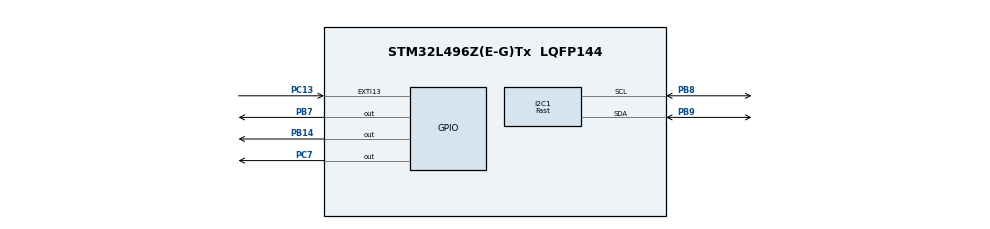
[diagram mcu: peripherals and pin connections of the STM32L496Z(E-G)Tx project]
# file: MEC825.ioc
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FREERTOS.Tasks01=Blink01,24,128,StartBlink01,Default,NULL,Dynamic,NULL,NULL;Blink02,16,128,StartBlink02,Default,NULL,Dynamic,NULL,NULL
I2C1.I2C_Speed_Mode=I2C_Fast
I2C1.Timing=0x00000004
Mcu.Family=STM32L4
Mcu.Name=STM32L496Z(E-G)Tx
Mcu.Package=LQFP144
NVIC.EXTI15_10_IRQn=true\:0\:0\:false\:false\:true\:false\:true\:true
NVIC.PriorityGroup=NVIC_PRIORITYGROUP_4
NVIC.TIM6_DAC_IRQn=true\:0\:0\:false\:false\:true\:false\:false\:true
NVIC.TimeBase=TIM6_DAC_IRQn
NVIC.TimeBaseIP=TIM6
PA13\ (JTMS/SWDIO).Mode=Serial_Wire
PA13\ (JTMS/SWDIO).Signal=SYS_JTMS-SWDIO
PA14\ (JTCK/SWCLK).Mode=Serial_Wire
PA14\ (JTCK/SWCLK).Signal=SYS_JTCK-SWCLK
PB14.Signal=GPIO_Output
PB7.Signal=GPIO_Output
PB8.Mode=I2C
PB8.Signal=I2C1_SCL
PB9.Mode=I2C
PB9.Signal=I2C1_SDA
PC13.Signal=GPXTI13
PC7.Signal=GPIO_Output
ProjectManager.HeapSize=0x200
ProjectManager.StackSize=0x400
ProjectManager.TargetToolchain=STM32CubeIDE
RCC.HSE_VALUE=8000000
RCC.HSI48_VALUE=48000000
RCC.HSI_VALUE=16000000
RCC.LSE_VALUE=32768
RCC.MSI_VALUE=4000000
RCC.VCOOutputFreq_Value=32000000
VP_FREERTOS_VS_CMSIS_V2.Mode=CMSIS_V2
VP_SYS_VS_tim6.Mode=TIM6
board=custom

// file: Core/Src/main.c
/* USER CODE BEGIN Header */
/**
  ******************************************************************************
  * @file           : main.c
  * @brief          : Main program body
  ******************************************************************************
  * @attention
  *
  * <h2><center>&copy; Copyright (c) 2021 STMicroelectronics.
  * All rights reserved.</center></h2>
  *
  * This software component is licensed by ST under BSD 3-Clause license,
  * the "License"; You may not use this file except in compliance with the
  * License. You may obtain a copy of the License at:
  *                        opensource.org/licenses/BSD-3-Clause
  *
  ******************************************************************************
  */
/* USER CODE END Header */
#include "main.h"
#include "cmsis_os.h"
#include "i2c.h"
#include "gpio.h"

/* USER CODE BEGIN Includes */
#include "bitmap.h"
#include "fonts.h"
#include "ssd1306.h"
#include "StepLib.h"
#include "test.h"
/* USER CODE END Includes */

void SystemClock_Config(void);
void MX_FREERTOS_Init(void);

int main(void)
{

  /* MCU Configuration--------------------------------------------------------*/

  /* Reset of all peripherals, Initializes the Flash interface and the Systick. */
  HAL_Init();

  /* Configure the system clock */
  SystemClock_Config();

  /* Initialize all configured peripherals */
  MX_GPIO_Init();
  MX_I2C1_Init();
  /* USER CODE BEGIN 2 */
  SSD1306_Init();  // initialise

    /// lets print some string

      SSD1306_GotoXY (0,0);
      SSD1306_Puts ("Autonomous", &Font_7x10, 1);
      SSD1306_GotoXY (0, 15);
      SSD1306_Puts ("Pole & Line", &Font_7x10, 1);
      SSD1306_GotoXY (0, 30);
      SSD1306_Puts ("Fishing System", &Font_7x10, 1);
      SSD1306_UpdateScreen(); //display
      HAL_Delay (3000);
      SSD1306_Clear();

      SSD1306_GotoXY (0,0);
      SSD1306_Puts ("Created By:", &Font_7x10, 1);
      SSD1306_GotoXY (0, 18);
      SSD1306_Puts ("Heather & Nicholas", &Font_7x10, 1);
      SSD1306_GotoXY (0, 36);
      SSD1306_Puts ("Imran & Hasib", &Font_7x10, 1);
      SSD1306_UpdateScreen(); //display
      HAL_Delay (3000);
      SSD1306_Clear();

      SSD1306_DrawBitmap(0,0,logo, 128, 64, 1);
      SSD1306_UpdateScreen();

      HAL_Delay(2000);

      SSD1306_ScrollRight(0x00, 0x0f);    // scroll entire screen right

      HAL_Delay (2000);

      SSD1306_ScrollLeft(0x00, 0x0f);  // scroll entire screen left

      HAL_Delay (2000);

      SSD1306_Scrolldiagright(0x00, 0x0f);  // scroll entire screen diagonal right

      HAL_Delay (2000);

      SSD1306_Scrolldiagleft(0x00, 0x0f);  // scroll entire screen diagonal left

      HAL_Delay (2000);

      SSD1306_Stopscroll();   // stop scrolling. If not done, screen will keep on scrolling

      SSD1306_InvertDisplay(1);   // invert the display

      HAL_Delay(2000);

      SSD1306_InvertDisplay(0);  // normalize the display

  /* USER CODE END 2 */

  /* Init scheduler */
  osKernelInitialize();  /* Call init function for freertos objects (in freertos.c) */
  MX_FREERTOS_Init();
  /* Start scheduler */
  osKernelStart();

  /* We should never get here as control is now taken by the scheduler */
  /* Infinite loop */
  while (1)
  {

    /* USER CODE BEGIN 3 */

		  //// HORSE ANIMATION START //////
//
//		  SSD1306_Clear();
//		  SSD1306_DrawBitmap(0,0,horse1,128,64,1);
//		  SSD1306_UpdateScreen();
//
//		  SSD1306_Clear();
//		  SSD1306_DrawBitmap(0,0,horse2,128,64,1);
//		  SSD1306_UpdateScreen();
//
//		  SSD1306_Clear();
//		  SSD1306_DrawBitmap(0,0,horse3,128,64,1);
//		  SSD1306_UpdateScreen();
//
//		  SSD1306_Clear();
//		  SSD1306_DrawBitmap(0,0,horse4,128,64,1);
//		  SSD1306_UpdateScreen();
//
//		  SSD1306_Clear();
//		  SSD1306_DrawBitmap(0,0,horse5,128,64,1);
//		  SSD1306_UpdateScreen();
//
//		  SSD1306_Clear();
//		  SSD1306_DrawBitmap(0,0,horse6,128,64,1);
//		  SSD1306_UpdateScreen();
//
//
//		  SSD1306_Clear();
//		  SSD1306_DrawBitmap(0,0,horse7,128,64,1);
//		  SSD1306_UpdateScreen();
//
//		  SSD1306_Clear();
//		  SSD1306_DrawBitmap(0,0,horse8,128,64,1);
//		  SSD1306_UpdateScreen();
//
//
//		  SSD1306_Clear();
//		  SSD1306_DrawBitmap(0,0,horse9,128,64,1);
//		  SSD1306_UpdateScreen();
//
//
//		  SSD1306_Clear();
//		  SSD1306_DrawBitmap(0,0,horse10,128,64,1);
//		  SSD1306_UpdateScreen();

    /* USER CODE BEGIN 3 */
  }
  /* USER CODE END 3 */
}

void SystemClock_Config(void)
{
  RCC_OscInitTypeDef RCC_OscInitStruct = {0};
  RCC_ClkInitTypeDef RCC_ClkInitStruct = {0};
  RCC_PeriphCLKInitTypeDef PeriphClkInit = {0};

  /** Initializes the RCC Oscillators according to the specified parameters
  * in the RCC_OscInitTypeDef structure.
  */
  RCC_OscInitStruct.OscillatorType = RCC_OSCILLATORTYPE_MSI;
  RCC_OscInitStruct.MSIState = RCC_MSI_ON;
  RCC_OscInitStruct.MSICalibrationValue = 0;
  RCC_OscInitStruct.MSIClockRange = RCC_MSIRANGE_6;
  RCC_OscInitStruct.PLL.PLLState = RCC_PLL_NONE;
  if (HAL_RCC_OscConfig(&RCC_OscInitStruct) != HAL_OK)
  {
    Error_Handler();
  }
  /** Initializes the CPU, AHB and APB buses clocks
  */
  RCC_ClkInitStruct.ClockType = RCC_CLOCKTYPE_HCLK|RCC_CLOCKTYPE_SYSCLK
                              |RCC_CLOCKTYPE_PCLK1|RCC_CLOCKTYPE_PCLK2;
  RCC_ClkInitStruct.SYSCLKSource = RCC_SYSCLKSOURCE_MSI;
  RCC_ClkInitStruct.AHBCLKDivider = RCC_SYSCLK_DIV1;
  RCC_ClkInitStruct.APB1CLKDivider = RCC_HCLK_DIV1;
  RCC_ClkInitStruct.APB2CLKDivider = RCC_HCLK_DIV1;

  if (HAL_RCC_ClockConfig(&RCC_ClkInitStruct, FLASH_LATENCY_0) != HAL_OK)
  {
    Error_Handler();
  }
  PeriphClkInit.PeriphClockSelection = RCC_PERIPHCLK_I2C1;
  PeriphClkInit.I2c1ClockSelection = RCC_I2C1CLKSOURCE_PCLK1;
  if (HAL_RCCEx_PeriphCLKConfig(&PeriphClkInit) != HAL_OK)
  {
    Error_Handler();
  }
  /** Configure the main internal regulator output voltage
  */
  if (HAL_PWREx_ControlVoltageScaling(PWR_REGULATOR_VOLTAGE_SCALE1) != HAL_OK)
  {
    Error_Handler();
  }
}

 /**
  * @brief  Period elapsed callback in non blocking mode
  * @note   This function is called  when TIM6 interrupt took place, inside
  * HAL_TIM_IRQHandler(). It makes a direct call to HAL_IncTick() to increment
  * a global variable "uwTick" used as application time base.
  * @param  htim : TIM handle
  * @retval None
  */
void HAL_TIM_PeriodElapsedCallback(TIM_HandleTypeDef *htim)
{
  if (htim->Instance == TIM6) {
    HAL_IncTick();
  }
}

void Error_Handler(void)
{
  __disable_irq();
  while (1)
  {
  }
}

/************************ (C) COPYRIGHT STMicroelectronics *****END OF FILE****/

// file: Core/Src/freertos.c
/* USER CODE BEGIN Header */
/**
  ******************************************************************************
  * File Name          : freertos.c
  * Description        : Code for freertos applications
  ******************************************************************************
  * @attention
  *
  * <h2><center>&copy; Copyright (c) 2021 STMicroelectronics.
  * All rights reserved.</center></h2>
  *
  * This software component is licensed by ST under Ultimate Liberty license
  * SLA0044, the "License"; You may not use this file except in compliance with
  * the License. You may obtain a copy of the License at:
  *                             www.st.com/SLA0044
  *
  ******************************************************************************
  */
/* USER CODE END Header */

#include "FreeRTOS.h"
#include "task.h"
#include "main.h"
#include "cmsis_os.h"

/* Definitions for Blink01 */
osThreadId_t Blink01Handle;
const osThreadAttr_t Blink01_attributes = {
  .name = "Blink01",
  .priority = (osPriority_t) osPriorityNormal,
  .stack_size = 128 * 4
};
/* Definitions for Blink02 */
osThreadId_t Blink02Handle;
const osThreadAttr_t Blink02_attributes = {
  .name = "Blink02",
  .priority = (osPriority_t) osPriorityBelowNormal,
  .stack_size = 128 * 4
};

void StartBlink01(void *argument);
void StartBlink02(void *argument);

void MX_FREERTOS_Init(void); /* (MISRA C 2004 rule 8.1) */

void MX_FREERTOS_Init(void) {

  /* Create the thread(s) */
  /* creation of Blink01 */
  Blink01Handle = osThreadNew(StartBlink01, NULL, &Blink01_attributes);

  /* creation of Blink02 */
  Blink02Handle = osThreadNew(StartBlink02, NULL, &Blink02_attributes);

}

void StartBlink01(void *argument)
{
  /* USER CODE BEGIN StartBlink01 */
  /* Infinite loop */
  for(;;)
  {

	HAL_GPIO_TogglePin(GPIOB, GPIO_PIN_7);
    osDelay(500);
  }
  /* USER CODE END StartBlink01 */
}

void StartBlink02(void *argument)
{
  for(;;)
  {
    osDelay(1);
  }
}

/************************ (C) COPYRIGHT STMicroelectronics *****END OF FILE****/
